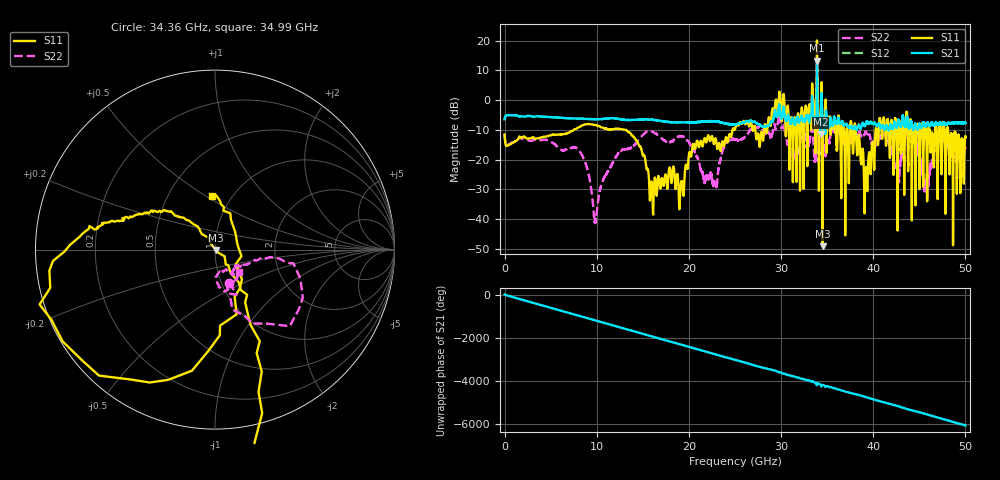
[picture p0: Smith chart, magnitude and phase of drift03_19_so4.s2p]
!Created with skrf (http://scikit-rf.org).
# Hz S RI R 50.0
!freq ReS11 ImS11 ReS21 ImS21 ReS12 ImS12 ReS22 ImS22
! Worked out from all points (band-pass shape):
!   10001 points, 300 kHz to 50 GHz, reference 50 ohm
!   highest |S21| = 13.29 dB at 33.9 GHz (marker M1); lowest = -11.5 dB at 34.32 GHz (marker M2)
!   |S21| within 3 dB of the highest: 33.89093 GHz to 33.90516 GHz (14.24 MHz wide, 0.042 % of centre)
!   lowest |S11| = -49.1 dB at 34.5 GHz (marker M3), VSWR 1.01, Z = 50.3 - j0.161 ohm
!   |S11| at or under -10 dB: start of sweep to 7.487 GHz; 13.13 GHz to 24.74 GHz (11.61 GHz wide, 61.3 % of centre); 38.09 GHz to 40.26 GHz (2.172 GHz wide, 5.54 % of centre) (the widest 3 of 52)
!   |S22| runs from -41.4 to 5.7 dB; largest |S21 - S12| = 0.35
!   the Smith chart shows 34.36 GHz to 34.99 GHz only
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300000  -0.2367 -0.1182  0.4674 0.0769  0.4659 0.0777  -0.2365 -0.1218
1.440291e9  0.2099 0.0647  -0.5476 -0.0289  -0.5482 -0.0287  0.2112 -0.00462
2.915283e9  -0.2117 -0.0879  0.534 0.0511  0.5346 0.0511  -0.2027 0.0402
4.415274e9  0.2066 0.1322  -0.5221 -0.0417  -0.5218 -0.0413  0.1974 -0.0875
8.33525e9  0.2886 -0.2334  0.1468 0.4654  0.1469 0.4656  -0.0726 -0.1006
9.850241e9  -0.362 0.1321  -0.1536 -0.4501  -0.1538 -0.4504  0.00846 0.00242
1.115523e10  0.3169 0.0821  -0.043 0.4905  -0.0432 0.4902  -0.0475 0.0391
1.263522e10  -0.3122 -0.0941  0.0292 -0.4741  0.0299 -0.4751  0.0761 -0.1179
1.66702e10  0.0275 0.0445  -0.3773 0.2541  -0.3778 0.2546  -0.1267 -0.2186
1.787019e10  0.0682 -0.0246  0.4288 0.015  0.4286 0.0154  -0.0369 0.1915
2.281016e10  0.000308 0.2126  -0.2814 0.3427  -0.2809 0.3438  -0.0323 0.0264
2.500015e10  -0.326 -0.0137  -0.2557 -0.2953  -0.255 -0.2965  -0.2131 0.0279
2.895513e10  -0.3227 0.4326  -0.2866 0.3272  -0.2972 0.2922  0.0653 0.2212
3.006512e10  0.3984 0.2621  0.4477 -0.1989  0.4515 -0.1861  0.1724 -0.2988
3.171011e10  -0.0908 0.1912  -0.3551 0.3589  -0.3595 0.3557  0.0653 0.1585
3.33351e10  0.6064 -0.8312  0.2353 -0.8434  0.2404 -0.8246  -0.199 -0.4179
3.38951e10  -3.251 -9.54  -4.476 1.144  -4.173 1.323  0.6496 1.81
3.432009e10  -0.7782 0.00148  -0.18 0.1964  -0.2408 0.1779  0.1428 -0.0711
3.450009e10  0.00312 -0.0016  -0.4477 0.2948  -0.4151 0.2754  0.1915 -0.0763
3.920006e10  0.0706 0.0134  0.194 -0.3651  0.201 -0.357  -0.2736 -0.1174
4.167005e10  -0.1956 0.302  0.3125 0.00337  0.3125 0.0107  -0.1921 -0.0117
5e10  -0.1305 -0.2111  0.147 0.3849  0.1472 0.3836  -0.0551 -0.1438
